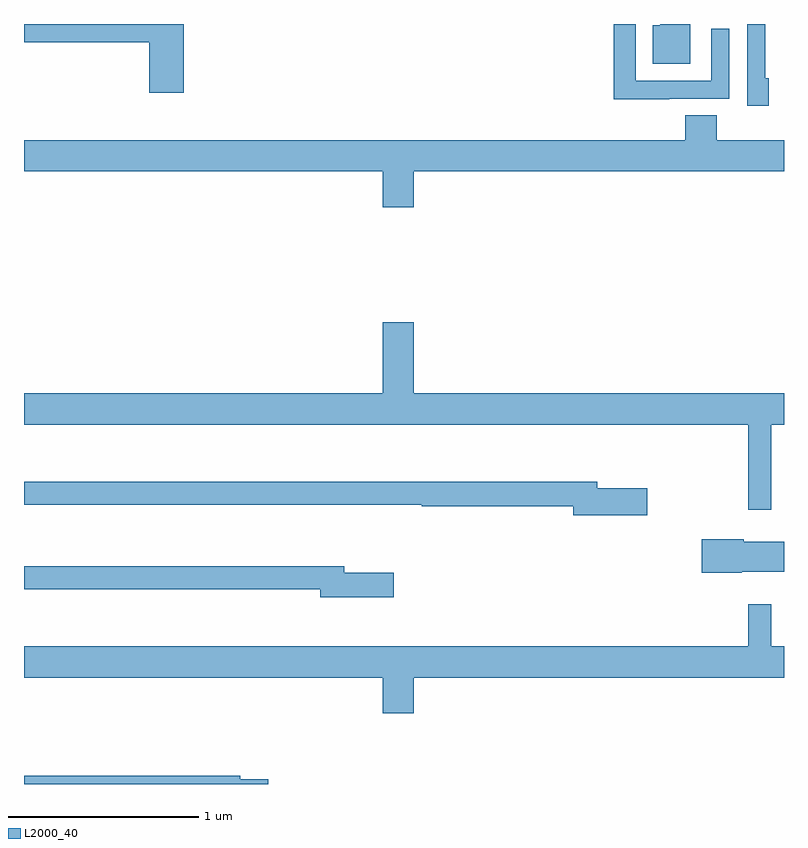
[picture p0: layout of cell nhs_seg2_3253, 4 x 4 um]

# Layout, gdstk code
import gdstk
lib = gdstk.Library(unit=1e-6, precision=1e-09)
def P(c, l, *ps):  # polygons
    for p in ps: c.add(gdstk.Polygon(p, *l))
L2000_40 = (2000, 40)

nhs_seg2_3253 = lib.new_cell('nhs_seg2_3253')
P(nhs_seg2_3253, L2000_40, [(286.921,593.514),(286.902,593.514),(286.902,593.8),(286.806,593.8),(286.806,593.37),(286.921,593.37)],
  [(286.397,593.406),(286.713,593.406),(286.713,593.776),(286.617,593.776),(286.617,593.502),(286.221,593.502),(286.221,593.8),(286.105,593.8),(286.105,593.405),(286.397,593.405)],
  [(283.841,593.8),(283,593.8),(283,593.704),(283.658,593.704),(283.658,593.439),(283.841,593.439)],
  [(286.507,593.8),(286.349,593.8),(286.349,593.794),(286.31,593.794),(286.31,593.591),(286.507,593.591)],
  [(285.052,593.024),(287,593.024),(287,593.188),(286.646,593.188),(286.646,593.321),(286.481,593.321),(286.481,593.188),(283,593.188),(283,593.024),(284.888,593.024),(284.888,592.836),(285.052,592.836)],
  [(286.933,591.692),(287,591.692),(287,591.856),(285.052,591.856),(285.052,592.231),(284.888,592.231),(284.888,591.856),(283,591.856),(283,591.692),(286.812,591.692),(286.812,591.243),(286.933,591.243)],
  [(286.279,591.357),(286.018,591.357),(286.018,591.391),(283,591.391),(283,591.27),(285.094,591.27),(285.094,591.262),(285.89,591.262),(285.89,591.215),(286.279,591.215)],
  [(286.778,590.918),(287,590.918),(287,591.076),(286.788,591.076),(286.788,591.089),(286.566,591.089),(286.566,590.911),(286.778,590.911)],
  [(284.947,590.913),(284.686,590.913),(284.686,590.947),(283,590.947),(283,590.826),(284.558,590.826),(284.558,590.783),(284.947,590.783)],
  [(285.052,590.36),(287,590.36),(287,590.524),(286.933,590.524),(286.933,590.746),(286.812,590.746),(286.812,590.524),(283,590.524),(283,590.36),(284.888,590.36),(284.888,590.172),(285.052,590.172)],
  [(284.285,589.824),(284.138,589.824),(284.138,589.844),(283,589.844),(283,589.8),(284.285,589.8)])

lib.write_gds('nhs_seg2_3253.gds')
